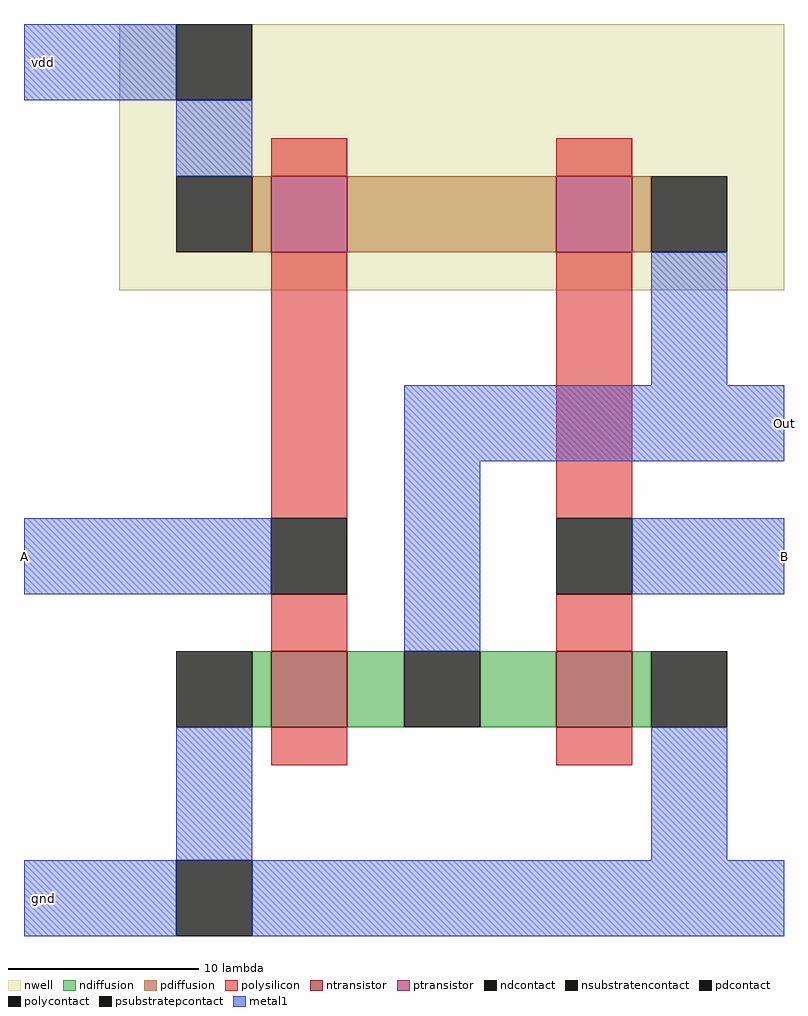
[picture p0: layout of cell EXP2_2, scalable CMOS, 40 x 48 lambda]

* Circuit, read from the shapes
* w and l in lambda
.subckt EXP2_2 A B Out gnd vdd
M1 Out A gnd gnd nfet w=4 l=4
M2 gnd B Out gnd nfet w=4 l=4
M3 n1 A vdd vdd pfet w=4 l=4
M4 Out B n1 vdd pfet w=4 l=4
.ends

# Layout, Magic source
magic
tech scmos
<< nwell >>
rect -19 5 16 19
<< polysilicon >>
rect -11 11 -7 13
rect 4 11 8 13
rect -11 -7 -7 7
rect -11 -14 -7 -11
rect 4 -7 8 7
rect 4 -14 8 -11
rect -11 -20 -7 -18
rect 4 -20 8 -18
<< ndiffusion >>
rect -12 -18 -11 -14
rect -7 -18 -4 -14
rect 0 -18 4 -14
rect 8 -18 9 -14
<< pdiffusion >>
rect -12 7 -11 11
rect -7 7 4 11
rect 8 7 9 11
<< metal1 >>
rect -24 15 -16 19
rect -16 11 -12 15
rect 9 0 13 7
rect -4 -4 16 0
rect -24 -11 -11 -7
rect -4 -14 0 -4
rect 8 -11 16 -7
rect -16 -25 -12 -18
rect 9 -25 13 -18
rect -24 -29 -16 -25
rect -12 -29 16 -25
<< ntransistor >>
rect -11 -18 -7 -14
rect 4 -18 8 -14
<< ptransistor >>
rect -11 7 -7 11
rect 4 7 8 11
<< polycontact >>
rect -11 -11 -7 -7
rect 4 -11 8 -7
<< ndcontact >>
rect -16 -18 -12 -14
rect -4 -18 0 -14
rect 9 -18 13 -14
<< pdcontact >>
rect -16 7 -12 11
rect 9 7 13 11
<< psubstratepcontact >>
rect -16 -29 -12 -25
<< nsubstratencontact >>
rect -16 15 -12 19
<< labels >>
rlabel metal1 -24 -11 -24 -7 3 A
rlabel metal1 16 -11 16 -7 7 B
rlabel metal1 16 -4 16 0 7 Out
rlabel metal1 -23 17 -23 17 4 vdd
rlabel metal1 -23 -27 -23 -27 2 gnd
<< end >>
